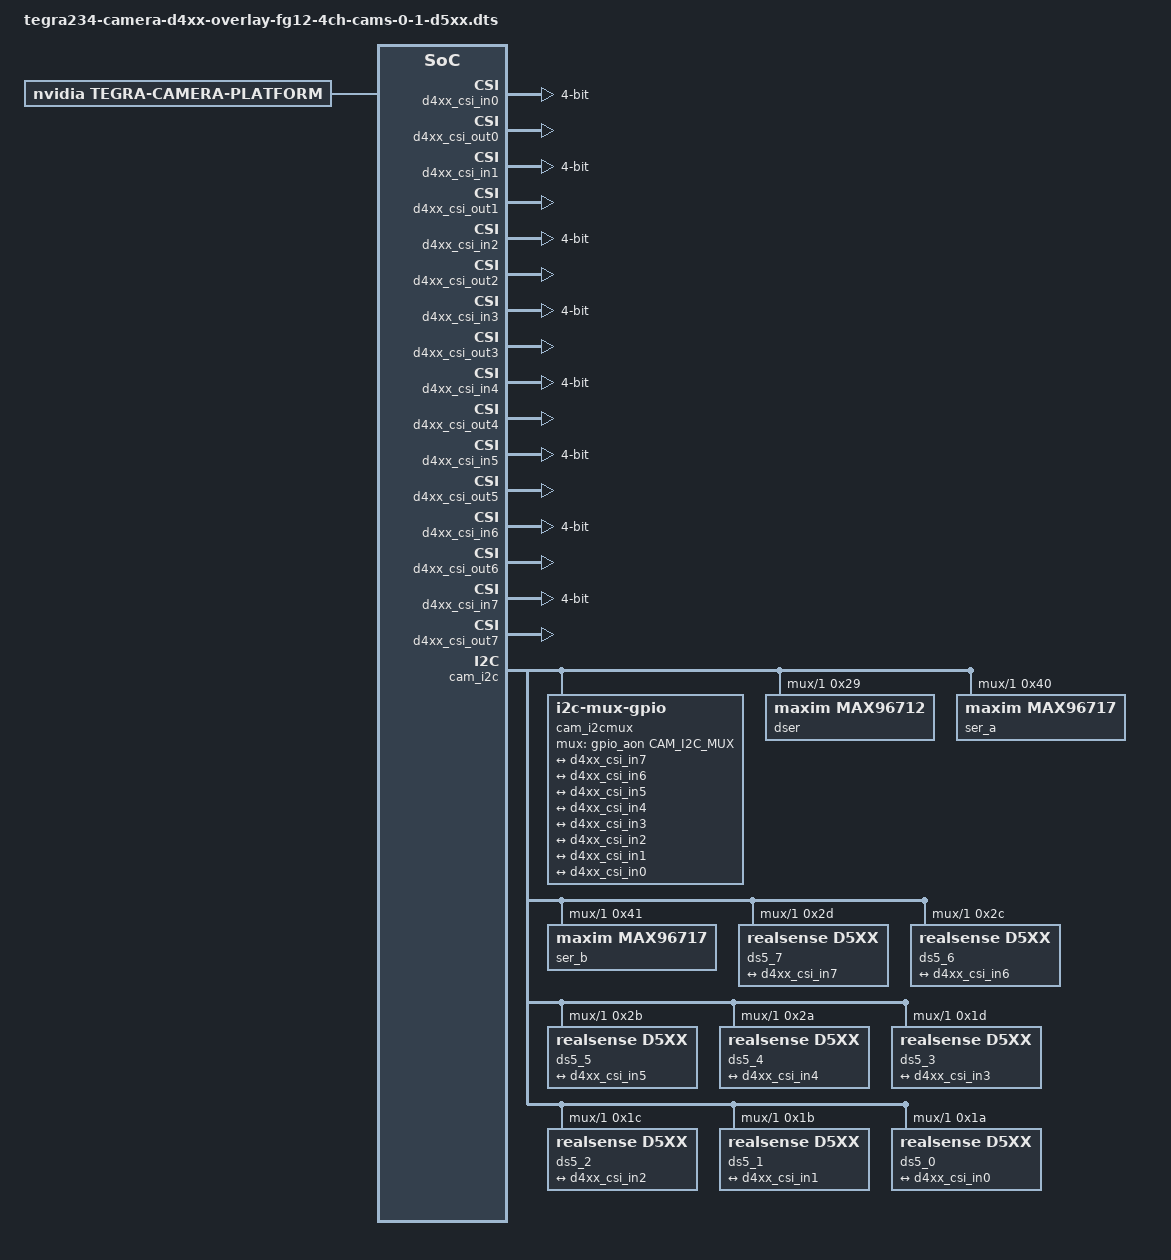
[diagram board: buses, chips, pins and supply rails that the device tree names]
// SPDX-License-Identifier: GPL-2.0-only
// SPDX-FileCopyrightText: Copyright (c) 2018-2023, INTEL CORPORATION.  All rights reserved.

/*
 * Two RealSense D5xx (D585) cameras overlay for the FangZhu FG12-4CH carrier
 * board on NVIDIA Jetson Orin Nano (p3768-0000 + p3767-xxxx).
 *
 * Board topology (2 D5xx on deserializer links A/B):
 *   D5xx x2 --CSI-2 4-lane--> MAX96717 serializers (0x40, 0x41)
 *        --GMSL2--> MAX96712 deserializer (0x29)
 *        --CSI-2 4-lane--> Orin Nano CSI port C/D
 *                         (port-index = 2 / serial_c), 8 virtual channels
 *                         (4 per camera).
 *
 * Derived from the single-camera FG12-4CH D5xx overlay
 * (tegra234-camera-d4xx-overlay-fg12-4ch-d5xx.dts) and the two-camera D5xx
 * topology of the FG12-16CH overlay
 * (tegra234-camera-d4xx-overlay-fg12-16ch-cams-0-1-d5xx.dts):
 *  - link-mask 0x3 enables the MAX96712 GMSL links in use.
 *  - one MAX96717 node per link, tagged with maxim,gmsl-link-id so d4xx can
 *    resolve the link once the deserializer remaps virtual channels.
 *  - per-link VC remap tables lift each camera's four serializer VCs (0..3)
 *    onto a distinct deserializer VC quad.
 * The FangZhu-specific MAX96712 hooks (fg12-poc-enable /
 * fg12-reverse-lane-polarity) and the GPIO-selected camera I2C mux
 * (cam_i2cmux / i2c@1) are kept from the verified FG12-4CH overlay.
 */

/dts-v1/;
/plugin/;

#include <dt-bindings/clock/tegra234-clock.h>
#include <dt-bindings/gpio/tegra234-gpio.h>
#include <dt-bindings/tegra234-p3767-0000-common.h>

/* Camera control GPIO definitions from the official FG12-4CH device tree. */
#define CAM0_SYNC	TEGRA234_MAIN_GPIO(H, 6)
#define CAM1_SYNC	TEGRA234_MAIN_GPIO(AC, 0)
#define CAM_I2C_MUX	TEGRA234_AON_GPIO(CC, 3)

/ {
	overlay-name = "Jetson two RealSense D5xx Cameras (links a/b) with max96712 for FangZhu FG12-4CH on Orin Nano";
	jetson-header-name = "Jetson 22pin CSI Connector";
	compatible = JETSON_COMPATIBLE_P3768;

	fragment@0 {
		target-path = "/";
		__overlay__ {
			tegra-capture-vi {
				num-channels = <8>;
				ports {
					status = "okay";
					port@0 {
						status = "okay";
						reg = <0>;
						d4xx_vi_in0: endpoint {
							status = "okay";
							vc-id = <0>;
							port-index = <2>;
							bus-width = <4>;
							remote-endpoint = <&d4xx_csi_out0>;
						};
					};
					port@1 {
						status = "okay";
						reg = <1>;
						d4xx_vi_in1: endpoint {
							status = "okay";
							vc-id = <1>;
							port-index = <2>;
							bus-width = <4>;
							remote-endpoint = <&d4xx_csi_out1>;
						};
					};
					port@2 {
						status = "okay";
						reg = <2>;
						d4xx_vi_in2: endpoint {
							status = "okay";
							vc-id = <2>;
							port-index = <2>;
							bus-width = <4>;
							remote-endpoint = <&d4xx_csi_out2>;
						};
					};
					port@3 {
						status = "okay";
						reg = <3>;
						d4xx_vi_in3: endpoint {
							status = "okay";
							vc-id = <3>;
							port-index = <2>;
							bus-width = <4>;
							remote-endpoint = <&d4xx_csi_out3>;
						};
					};
					port@4 {
						status = "okay";
						reg = <4>;
						d4xx_vi_in4: endpoint {
							status = "okay";
							vc-id = <4>;
							port-index = <2>;
							bus-width = <4>;
							remote-endpoint = <&d4xx_csi_out4>;
						};
					};
					port@5 {
						status = "okay";
						reg = <5>;
						d4xx_vi_in5: endpoint {
							status = "okay";
							vc-id = <5>;
							port-index = <2>;
							bus-width = <4>;
							remote-endpoint = <&d4xx_csi_out5>;
						};
					};
					port@6 {
						status = "okay";
						reg = <6>;
						d4xx_vi_in6: endpoint {
							status = "okay";
							vc-id = <6>;
							port-index = <2>;
							bus-width = <4>;
							remote-endpoint = <&d4xx_csi_out6>;
						};
					};
					port@7 {
						status = "okay";
						reg = <7>;
						d4xx_vi_in7: endpoint {
							status = "okay";
							vc-id = <7>;
							port-index = <2>;
							bus-width = <4>;
							remote-endpoint = <&d4xx_csi_out7>;
						};
					};
				};
			};

			tegra-camera-platform {
				compatible = "nvidia, tegra-camera-platform";
				status = "okay";
				num_csi_lanes = <4>;
				max_lane_speed = <1500000>;
				min_bits_per_pixel = <8>;
				vi_peak_byte_per_pixel = <2>;
				vi_bw_margin_pct = <25>;
				max_pixel_rate = <160000>;
				isp_peak_byte_per_pixel = <5>;
				isp_bw_margin_pct = <25>;
				modules {
					status = "okay";
					module0 {
						status = "okay";
						badge = "d5xx_depth";
						position = "left";
						orientation = "1";
						drivernode0 {
							status = "okay";
							pcl_id = "v4l2_sensor";
							devname = "DS5 mux 2-001a";
							sysfs-device-tree = "/sys/firmware/devicetree/base/bus@0/cam_i2cmux/i2c@1/ds5@1a";
						};
					};
					module1 {
						status = "okay";
						badge = "d5xx_rgb";
						position = "left";
						orientation = "1";
						drivernode0 {
							status = "okay";
							pcl_id = "v4l2_sensor";
							devname = "DS5 mux 2-001b";
							sysfs-device-tree = "/sys/firmware/devicetree/base/bus@0/cam_i2cmux/i2c@1/ds5@1b";
						};
					};
					module2 {
						status = "okay";
						badge = "d5xx_Y8";
						position = "left";
						orientation = "1";
						drivernode0 {
							status = "okay";
							pcl_id = "v4l2_sensor";
							devname = "DS5 mux 2-001c";
							sysfs-device-tree = "/sys/firmware/devicetree/base/bus@0/cam_i2cmux/i2c@1/ds5@1c";
						};
					};
					module3 {
						status = "okay";
						badge = "d5xx_imu";
						position = "left";
						orientation = "1";
						drivernode0 {
							status = "okay";
							pcl_id = "v4l2_sensor";
							devname = "DS5 mux 2-001d";
							sysfs-device-tree = "/sys/firmware/devicetree/base/bus@0/cam_i2cmux/i2c@1/ds5@1d";
						};
					};
					module4 {
						status = "okay";
						badge = "d5xx_depth";
						position = "left";
						orientation = "1";
						drivernode0 {
							status = "okay";
							pcl_id = "v4l2_sensor";
							devname = "DS5 mux 2-002a";
							sysfs-device-tree = "/sys/firmware/devicetree/base/bus@0/cam_i2cmux/i2c@1/ds5@2a";
						};
					};
					module5 {
						status = "okay";
						badge = "d5xx_rgb";
						position = "left";
						orientation = "1";
						drivernode0 {
							status = "okay";
							pcl_id = "v4l2_sensor";
							devname = "DS5 mux 2-002b";
							sysfs-device-tree = "/sys/firmware/devicetree/base/bus@0/cam_i2cmux/i2c@1/ds5@2b";
						};
					};
					module6 {
						status = "okay";
						badge = "d5xx_Y8";
						position = "left";
						orientation = "1";
						drivernode0 {
							status = "okay";
							pcl_id = "v4l2_sensor";
							devname = "DS5 mux 2-002c";
							sysfs-device-tree = "/sys/firmware/devicetree/base/bus@0/cam_i2cmux/i2c@1/ds5@2c";
						};
					};
					module7 {
						status = "okay";
						badge = "d5xx_imu";
						position = "left";
						orientation = "1";
						drivernode0 {
							status = "okay";
							pcl_id = "v4l2_sensor";
							devname = "DS5 mux 2-002d";
							sysfs-device-tree = "/sys/firmware/devicetree/base/bus@0/cam_i2cmux/i2c@1/ds5@2d";
						};
					};
				};
			};

			bus@0 {
				host1x@13e00000 {
					nvcsi@15a00000 {
						num-channels = <8>;
						channel@0 {
							status = "okay";
							reg = <0>;
							ports {
								status = "okay";
								port@0 {
									status = "okay";
									reg = <0>;
									d4xx_csi_in0: endpoint@0 {
										status = "okay";
										port-index = <2>;
										bus-width = <4>;
										remote-endpoint = <&ds5_0_out>;
									};
								};
								port@1 {
									status = "okay";
									reg = <1>;
									d4xx_csi_out0: endpoint@1 {
										status = "okay";
										remote-endpoint = <&d4xx_vi_in0>;
									};
								};
							};
						};
						channel@1 {
							status = "okay";
							reg = <1>;
							ports {
								status = "okay";
								port@0 {
									status = "okay";
									reg = <0>;
									d4xx_csi_in1: endpoint@2 {
										status = "okay";
										port-index = <2>;
										bus-width = <4>;
										remote-endpoint = <&ds5_1_out>;
									};
								};
								port@1 {
									status = "okay";
									reg = <1>;
									d4xx_csi_out1: endpoint@3 {
										status = "okay";
										remote-endpoint = <&d4xx_vi_in1>;
									};
								};
							};
						};
						channel@2 {
							status = "okay";
							reg = <2>;
							ports {
								status = "okay";
								port@0 {
									status = "okay";
									reg = <0>;
									d4xx_csi_in2: endpoint@4 {
										status = "okay";
										port-index = <2>;
										bus-width = <4>;
										remote-endpoint = <&ds5_2_out>;
									};
								};
								port@1 {
									status = "okay";
									reg = <1>;
									d4xx_csi_out2: endpoint@5 {
										status = "okay";
										remote-endpoint = <&d4xx_vi_in2>;
									};
								};
							};
						};
						channel@3 {
							status = "okay";
							reg = <3>;
							ports {
								status = "okay";
								port@0 {
									status = "okay";
									reg = <0>;
									d4xx_csi_in3: endpoint@6 {
										status = "okay";
										port-index = <2>;
										bus-width = <4>;
										remote-endpoint = <&ds5_3_out>;
									};
								};
								port@1 {
									status = "okay";
									reg = <1>;
									d4xx_csi_out3: endpoint@7 {
										status = "okay";
										remote-endpoint = <&d4xx_vi_in3>;
									};
								};
							};
						};
						channel@4 {
							status = "okay";
							reg = <4>;
							ports {
								status = "okay";
								port@0 {
									status = "okay";
									reg = <0>;
									d4xx_csi_in4: endpoint@8 {
										status = "okay";
										port-index = <2>;
										bus-width = <4>;
										remote-endpoint = <&ds5_4_out>;
									};
								};
								port@1 {
									status = "okay";
									reg = <1>;
									d4xx_csi_out4: endpoint@9 {
										status = "okay";
										remote-endpoint = <&d4xx_vi_in4>;
									};
								};
							};
						};
						channel@5 {
							status = "okay";
							reg = <5>;
							ports {
								status = "okay";
								port@0 {
									status = "okay";
									reg = <0>;
									d4xx_csi_in5: endpoint@10 {
										status = "okay";
										port-index = <2>;
										bus-width = <4>;
										remote-endpoint = <&ds5_5_out>;
									};
								};
								port@1 {
									status = "okay";
									reg = <1>;
									d4xx_csi_out5: endpoint@11 {
										status = "okay";
										remote-endpoint = <&d4xx_vi_in5>;
									};
								};
							};
						};
						channel@6 {
							status = "okay";
							reg = <6>;
							ports {
								status = "okay";
								port@0 {
									status = "okay";
									reg = <0>;
									d4xx_csi_in6: endpoint@12 {
										status = "okay";
										port-index = <2>;
										bus-width = <4>;
										remote-endpoint = <&ds5_6_out>;
									};
								};
								port@1 {
									status = "okay";
									reg = <1>;
									d4xx_csi_out6: endpoint@13 {
										status = "okay";
										remote-endpoint = <&d4xx_vi_in6>;
									};
								};
							};
						};
						channel@7 {
							status = "okay";
							reg = <7>;
							ports {
								status = "okay";
								port@0 {
									status = "okay";
									reg = <0>;
									d4xx_csi_in7: endpoint@14 {
										status = "okay";
										port-index = <2>;
										bus-width = <4>;
										remote-endpoint = <&ds5_7_out>;
									};
								};
								port@1 {
									status = "okay";
									reg = <1>;
									d4xx_csi_out7: endpoint@15 {
										status = "okay";
										remote-endpoint = <&d4xx_vi_in7>;
									};
								};
							};
						};
					};
				};

				/*
				 * FG12-4CH routes camera I2C through a GPIO-selected mux.
				 * The deserializer is on i2c@1 (GPIO high); video is routed
				 * independently to CSI C/D (port-index 2 / serial_c).
				 */
				cam_i2cmux {
					compatible = "i2c-mux-gpio";
					#address-cells = <1>;
					#size-cells = <0>;
					i2c-parent = <&cam_i2c>;
					mux-gpios = <&gpio_aon CAM_I2C_MUX GPIO_ACTIVE_HIGH>;

					i2c@1 {
						reg = <1>;
						#address-cells = <1>;
						#size-cells = <0>;

						dser: max96712@29 {
							status = "okay";
							reg = <0x29>;
							compatible = "maxim,max96712";
							csi-mode = "2x4";
							/* 4-lane CSI output towards the Jetson (1300 Mbps/lane). */
							lane_cnt = <4>;
							link-mask = <0x3>;
							channel = "a";
							fangzhu,fg12-reverse-lane-polarity;
							fangzhu,fg12-poc-enable;
							/* <serializer-vc deserializer-vc> */
							maxim,link0-vc-remap = <0 0>, <1 1>, <2 2>, <3 3>;
							maxim,link1-vc-remap = <0 4>, <1 5>, <2 6>, <3 7>;
						};

						ser_a: max96717_a@40 {
							status = "okay";
							compatible = "maxim,max96717";
							reg = <0x40>;
							maxim,gmsl-link-id = <0>;
							maxim,gmsl-dser-device = <&dser>;
						};

						ser_b: max96717_b@41 {
							status = "okay";
							compatible = "maxim,max96717";
							reg = <0x41>;
							maxim,gmsl-link-id = <1>;
							maxim,gmsl-dser-device = <&dser>;
						};

						/* ---------------- Link 1: D5xx (max96717), vc-id 4..7 ---------------- */

						ds5_7: ds5@2d {
							status = "okay";
							def-addr = <0x10>;
							reg = <0x2d>;
							override_reg = <0x2a>;
							compatible = "realsense,d5xx";
							use_sensor_mode_id = "true";
							cam-type = "IMU";
							nvidia,gmsl-ser-device = <&ser_b>;
							nvidia,gmsl-dser-device = <&dser>;
							ports {
								#address-cells = <1>;
								#size-cells = <0>;

								port@0 {
									reg = <0>;
									ds5_7_out: endpoint {
										vc-id = <7>;
										port-index = <7>;
										bus-width = <4>;
										remote-endpoint = <&d4xx_csi_in7>;
									};
								};
							};
							mode0 {
								pixel_t = "grey_y16";
								num_lanes = "4";
								csi_pixel_bit_depth = "16";
								active_w = "640";
								active_h = "480";
								tegra_sinterface = "serial_c";
								mclk_khz = "24000";
								pix_clk_hz = "74250000";
								serdes_pix_clk_hz = "325000000"; /* 4 lanes x 1300 Mbps / 16 bpp */
								line_length = "1280"; /* 2200 */
								embedded_metadata_height = "0";
							};
							gmsl-link {
								src-csi-port = "b";
								dst-csi-port = "a";
								serdes-csi-link = "a";
								csi-mode = "1x4";
								st-vc = <0>;
								vc-id = <7>;
								num-lanes = <4>;
							};
						};

						ds5_6: ds5@2c {
							status = "okay";
							def-addr = <0x10>;
							reg = <0x2c>;
							override_reg = <0x2a>;
							compatible = "realsense,d5xx";
							use_sensor_mode_id = "true";
							cam-type = "Y8";
							nvidia,gmsl-ser-device = <&ser_b>;
							nvidia,gmsl-dser-device = <&dser>;
							ports {
								#address-cells = <1>;
								#size-cells = <0>;

								port@0 {
									reg = <0>;
									ds5_6_out: endpoint {
										vc-id = <6>;
										port-index = <6>;
										bus-width = <4>;
										remote-endpoint = <&d4xx_csi_in6>;
									};
								};
							};
							/* mode0: Y8, mode1: depth D16 */
							mode0 {
								pixel_t = "grey_y16";
								num_lanes = "4";
								csi_pixel_bit_depth = "16";
								active_w = "1280";
								active_h = "720";
								tegra_sinterface = "serial_c";
								mclk_khz = "24000";
								pix_clk_hz = "74250000";
								serdes_pix_clk_hz = "325000000"; /* 4 lanes x 1300 Mbps / 16 bpp */
								line_length = "1280"; /* 2200 */
								embedded_metadata_height = "1";
							};
							gmsl-link {
								src-csi-port = "b";
								dst-csi-port = "a";
								serdes-csi-link = "a";
								csi-mode = "1x4";
								st-vc = <0>;
								vc-id = <6>;
								num-lanes = <4>;
							};
						};

						ds5_5: ds5@2b {
							status = "okay";
							def-addr = <0x10>;
							reg = <0x2b>;
							override_reg = <0x2a>;
							compatible = "realsense,d5xx";
							use_sensor_mode_id = "true";
							cam-type = "RGB";
							nvidia,gmsl-ser-device = <&ser_b>;
							nvidia,gmsl-dser-device = <&dser>;
							ports {
								#address-cells = <1>;
								#size-cells = <0>;

								port@0 {
									reg = <0>;
									ds5_5_out: endpoint {
										vc-id = <5>;
										port-index = <5>;
										bus-width = <4>;
										remote-endpoint = <&d4xx_csi_in5>;
									};
								};
							};
							mode0 {
								pixel_t = "grey_y16";
								num_lanes = "4";
								csi_pixel_bit_depth = "16";
								active_w = "1920";
								active_h = "1080";
								tegra_sinterface = "serial_c";
								mclk_khz = "24000";
								pix_clk_hz = "74250000";
								serdes_pix_clk_hz = "325000000"; /* 4 lanes x 1300 Mbps / 16 bpp */
								line_length = "1280"; /* 2200 */
								embedded_metadata_height = "1";
							};
							gmsl-link {
								src-csi-port = "b";
								dst-csi-port = "a";
								serdes-csi-link = "a";
								csi-mode = "1x4";
								st-vc = <0>;
								vc-id = <5>;
								num-lanes = <4>;
							};
						};

						ds5_4: ds5@2a {
							status = "okay";
							def-addr = <0x10>;
							reg = <0x2a>;
							compatible = "realsense,d5xx";
							use_sensor_mode_id = "true";
							cam-type = "Depth";
							nvidia,gmsl-ser-device = <&ser_b>;
							nvidia,gmsl-dser-device = <&dser>;
							ports {
								#address-cells = <1>;
								#size-cells = <0>;

								port@0 {
									reg = <0>;
									ds5_4_out: endpoint {
										vc-id = <4>;
										port-index = <4>;
										bus-width = <4>;
										remote-endpoint = <&d4xx_csi_in4>;
									};
								};
							};
							mode0 {
								pixel_t = "grey_y16";
								num_lanes = "4";
								csi_pixel_bit_depth = "16";
								active_w = "1280";
								active_h = "720";
								tegra_sinterface = "serial_c";
								mclk_khz = "24000";
								pix_clk_hz = "74250000";
								serdes_pix_clk_hz = "325000000"; /* 4 lanes x 1300 Mbps / 16 bpp */
								line_length = "1280"; /* 2200 */
								embedded_metadata_height = "1";
							};
							gmsl-link {
								src-csi-port = "b";
								dst-csi-port = "a";
								serdes-csi-link = "a";
								csi-mode = "1x4";
								st-vc = <0>;
								vc-id = <4>;
								num-lanes = <4>;
							};
						};

						/* ---------------- Link 0: D5xx (max96717), vc-id 0..3 ---------------- */

						ds5_3: ds5@1d {
							status = "okay";
							def-addr = <0x10>;
							reg = <0x1d>;
							override_reg = <0x1a>;
							compatible = "realsense,d5xx";
							use_sensor_mode_id = "true";
							cam-type = "IMU";
							nvidia,gmsl-ser-device = <&ser_a>;
							nvidia,gmsl-dser-device = <&dser>;
							ports {
								#address-cells = <1>;
								#size-cells = <0>;

								port@0 {
									reg = <0>;
									ds5_3_out: endpoint {
										vc-id = <3>;
										port-index = <3>;
										bus-width = <4>;
										remote-endpoint = <&d4xx_csi_in3>;
									};
								};
							};
							mode0 {
								pixel_t = "grey_y16";
								num_lanes = "4";
								csi_pixel_bit_depth = "16";
								active_w = "640";
								active_h = "480";
								tegra_sinterface = "serial_c";
								mclk_khz = "24000";
								pix_clk_hz = "74250000";
								serdes_pix_clk_hz = "325000000"; /* 4 lanes x 1300 Mbps / 16 bpp */
								line_length = "1280"; /* 2200 */
								embedded_metadata_height = "0";
							};
							gmsl-link {
								src-csi-port = "b";
								dst-csi-port = "a";
								serdes-csi-link = "a";
								csi-mode = "1x4";
								st-vc = <0>;
								vc-id = <3>;
								num-lanes = <4>;
							};
						};

						ds5_2: ds5@1c {
							status = "okay";
							def-addr = <0x10>;
							reg = <0x1c>;
							override_reg = <0x1a>;
							compatible = "realsense,d5xx";
							use_sensor_mode_id = "true";
							cam-type = "Y8";
							nvidia,gmsl-ser-device = <&ser_a>;
							nvidia,gmsl-dser-device = <&dser>;
							ports {
								#address-cells = <1>;
								#size-cells = <0>;

								port@0 {
									reg = <0>;
									ds5_2_out: endpoint {
										vc-id = <2>;
										port-index = <2>;
										bus-width = <4>;
										remote-endpoint = <&d4xx_csi_in2>;
									};
								};
							};
							/* mode0: Y8, mode1: depth D16 */
							mode0 {
								pixel_t = "grey_y16";
								num_lanes = "4";
								csi_pixel_bit_depth = "16";
								active_w = "1280";
								active_h = "720";
								tegra_sinterface = "serial_c";
								mclk_khz = "24000";
								pix_clk_hz = "74250000";
								serdes_pix_clk_hz = "325000000"; /* 4 lanes x 1300 Mbps / 16 bpp */
								line_length = "1280"; /* 2200 */
								embedded_metadata_height = "1";
							};
							gmsl-link {
								src-csi-port = "b";
								dst-csi-port = "a";
								serdes-csi-link = "a";
								csi-mode = "1x4";
								st-vc = <0>;
								vc-id = <2>;
								num-lanes = <4>;
							};
						};

						ds5_1: ds5@1b {
							status = "okay";
							def-addr = <0x10>;
							reg = <0x1b>;
							override_reg = <0x1a>;
							compatible = "realsense,d5xx";
							use_sensor_mode_id = "true";
							cam-type = "RGB";
							nvidia,gmsl-ser-device = <&ser_a>;
							nvidia,gmsl-dser-device = <&dser>;
							ports {
								#address-cells = <1>;
								#size-cells = <0>;

								port@0 {
									reg = <0>;
									ds5_1_out: endpoint {
										vc-id = <1>;
										port-index = <1>;
										bus-width = <4>;
										remote-endpoint = <&d4xx_csi_in1>;
									};
								};
							};
							mode0 {
								pixel_t = "grey_y16";
								num_lanes = "4";
								csi_pixel_bit_depth = "16";
								active_w = "1920";
								active_h = "1080";
								tegra_sinterface = "serial_c";
								mclk_khz = "24000";
								pix_clk_hz = "74250000";
								serdes_pix_clk_hz = "325000000"; /* 4 lanes x 1300 Mbps / 16 bpp */
								line_length = "1280"; /* 2200 */
								embedded_metadata_height = "1";
							};
							gmsl-link {
								src-csi-port = "b";
								dst-csi-port = "a";
								serdes-csi-link = "a";
								csi-mode = "1x4";
								st-vc = <0>;
								vc-id = <1>;
								num-lanes = <4>;
							};
						};

						ds5_0: ds5@1a {
							status = "okay";
							def-addr = <0x10>;
							reg = <0x1a>;
							compatible = "realsense,d5xx";
							use_sensor_mode_id = "true";
							cam-type = "Depth";
							nvidia,gmsl-ser-device = <&ser_a>;
							nvidia,gmsl-dser-device = <&dser>;
							ports {
								#address-cells = <1>;
								#size-cells = <0>;

								port@0 {
									reg = <0>;
									ds5_0_out: endpoint {
										vc-id = <0>;
										port-index = <0>;
										bus-width = <4>;
										remote-endpoint = <&d4xx_csi_in0>;
									};
								};
							};
							mode0 {
								pixel_t = "grey_y16";
								num_lanes = "4";
								csi_pixel_bit_depth = "16";
								active_w = "1280";
								active_h = "720";
								tegra_sinterface = "serial_c";
								mclk_khz = "24000";
								pix_clk_hz = "74250000";
								serdes_pix_clk_hz = "325000000"; /* 4 lanes x 1300 Mbps / 16 bpp */
								line_length = "1280"; /* 2200 */
								embedded_metadata_height = "1";
							};
							gmsl-link {
								src-csi-port = "b";
								dst-csi-port = "a";
								serdes-csi-link = "a";
								csi-mode = "1x4";
								st-vc = <0>;
								vc-id = <0>;
								num-lanes = <4>;
							};
						};
					};
				};
			};
		};
	};
};
